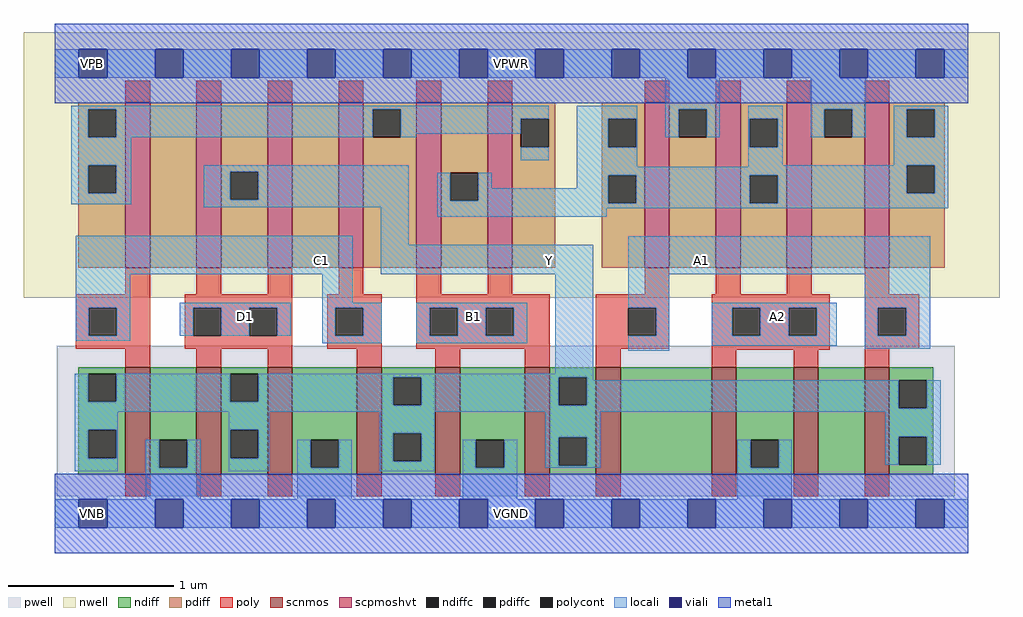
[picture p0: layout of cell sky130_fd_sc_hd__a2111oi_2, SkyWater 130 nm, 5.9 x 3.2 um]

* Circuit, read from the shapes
.subckt sky130_fd_sc_hd__a2111oi_2 A1 A2 B1 C1 D1 VGND VNB VPB VPWR Y
XM1 VGND C1 Y VNB sky130_fd_pr__nfet_01v8 w=0.65 l=0.15 m=2
XM2 Y D1 VGND VNB sky130_fd_pr__nfet_01v8 w=0.65 l=0.15 m=2
XM3 VGND B1 Y VNB sky130_fd_pr__nfet_01v8 w=0.65 l=0.15 m=2
XM4 n1 A1 Y VNB sky130_fd_pr__nfet_01v8 w=0.65 l=0.15
XM5 VGND A2 n1 VNB sky130_fd_pr__nfet_01v8 w=0.65 l=0.15
XM6 n2 A2 VGND VNB sky130_fd_pr__nfet_01v8 w=0.65 l=0.15
XM7 Y A1 n2 VNB sky130_fd_pr__nfet_01v8 w=0.65 l=0.15
XM8 n3 C1 n4 VPB sky130_fd_pr__pfet_01v8_hvt w=1 l=0.15
XM9 Y D1 n3 VPB sky130_fd_pr__pfet_01v8_hvt w=1 l=0.15
XM10 n5 D1 Y VPB sky130_fd_pr__pfet_01v8_hvt w=1 l=0.15
XM11 n4 C1 n5 VPB sky130_fd_pr__pfet_01v8_hvt w=1 l=0.15
XM12 n6 B1 n4 VPB sky130_fd_pr__pfet_01v8_hvt w=1 l=0.15 m=2
XM13 VPWR A1 n6 VPB sky130_fd_pr__pfet_01v8_hvt w=1 l=0.15 m=2
XM14 n6 A2 VPWR VPB sky130_fd_pr__pfet_01v8_hvt w=1 l=0.15 m=2
.ends

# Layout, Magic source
magic
tech sky130A
magscale 1 2
<< nwell >>
rect -38 261 1142 582
<< pwell >>
rect 2 21 1088 203
rect 29 -17 63 21
<< scnmos >>
rect 85 47 115 177
rect 171 47 201 177
rect 257 47 287 177
rect 365 47 395 177
rect 460 47 490 177
rect 568 47 598 177
rect 654 47 684 177
rect 794 47 824 177
rect 893 47 923 177
rect 979 47 1009 177
<< scpmoshvt >>
rect 85 297 115 497
rect 171 297 201 497
rect 257 297 287 497
rect 343 297 373 497
rect 437 297 467 497
rect 523 297 553 497
rect 713 297 743 497
rect 799 297 829 497
rect 885 297 915 497
rect 979 297 1009 497
<< ndiff >>
rect 28 169 85 177
rect 28 135 40 169
rect 74 135 85 169
rect 28 101 85 135
rect 28 67 40 101
rect 74 67 85 101
rect 28 47 85 67
rect 115 89 171 177
rect 115 55 126 89
rect 160 55 171 89
rect 115 47 171 55
rect 201 169 257 177
rect 201 135 212 169
rect 246 135 257 169
rect 201 101 257 135
rect 201 67 212 101
rect 246 67 257 101
rect 201 47 257 67
rect 287 89 365 177
rect 287 55 309 89
rect 343 55 365 89
rect 287 47 365 55
rect 395 165 460 177
rect 395 131 409 165
rect 443 131 460 165
rect 395 97 460 131
rect 395 63 409 97
rect 443 63 460 97
rect 395 47 460 63
rect 490 89 568 177
rect 490 55 509 89
rect 543 55 568 89
rect 490 47 568 55
rect 598 165 654 177
rect 598 131 609 165
rect 643 131 654 165
rect 598 92 654 131
rect 598 58 609 92
rect 643 58 654 92
rect 598 47 654 58
rect 684 47 794 177
rect 824 89 893 177
rect 824 55 841 89
rect 875 55 893 89
rect 824 47 893 55
rect 923 47 979 177
rect 1009 161 1062 177
rect 1009 127 1020 161
rect 1054 127 1062 161
rect 1009 93 1062 127
rect 1009 59 1020 93
rect 1054 59 1062 93
rect 1009 47 1062 59
<< pdiff >>
rect 28 489 85 497
rect 28 455 40 489
rect 74 455 85 489
rect 28 421 85 455
rect 28 387 40 421
rect 74 387 85 421
rect 28 297 85 387
rect 115 297 171 497
rect 201 413 257 497
rect 201 379 212 413
rect 246 379 257 413
rect 201 297 257 379
rect 287 297 343 497
rect 373 489 437 497
rect 373 455 384 489
rect 418 455 437 489
rect 373 297 437 455
rect 467 412 523 497
rect 467 378 478 412
rect 512 378 523 412
rect 467 297 523 378
rect 553 477 605 497
rect 553 443 563 477
rect 597 443 605 477
rect 553 297 605 443
rect 661 477 713 497
rect 661 443 669 477
rect 703 443 713 477
rect 661 409 713 443
rect 661 375 669 409
rect 703 375 713 409
rect 661 297 713 375
rect 743 489 799 497
rect 743 455 754 489
rect 788 455 799 489
rect 743 297 799 455
rect 829 477 885 497
rect 829 443 840 477
rect 874 443 885 477
rect 829 409 885 443
rect 829 375 840 409
rect 874 375 885 409
rect 829 297 885 375
rect 915 489 979 497
rect 915 455 930 489
rect 964 455 979 489
rect 915 297 979 455
rect 1009 489 1076 497
rect 1009 455 1030 489
rect 1064 455 1076 489
rect 1009 421 1076 455
rect 1009 387 1030 421
rect 1064 387 1076 421
rect 1009 297 1076 387
<< ndiffc >>
rect 40 135 74 169
rect 40 67 74 101
rect 126 55 160 89
rect 212 135 246 169
rect 212 67 246 101
rect 309 55 343 89
rect 409 131 443 165
rect 409 63 443 97
rect 509 55 543 89
rect 609 131 643 165
rect 609 58 643 92
rect 841 55 875 89
rect 1020 127 1054 161
rect 1020 59 1054 93
<< pdiffc >>
rect 40 455 74 489
rect 40 387 74 421
rect 212 379 246 413
rect 384 455 418 489
rect 478 378 512 412
rect 563 443 597 477
rect 669 443 703 477
rect 669 375 703 409
rect 754 455 788 489
rect 840 443 874 477
rect 840 375 874 409
rect 930 455 964 489
rect 1030 455 1064 489
rect 1030 387 1064 421
<< poly >>
rect 85 497 115 523
rect 171 497 201 523
rect 257 497 287 523
rect 343 497 373 523
rect 437 497 467 523
rect 523 497 553 523
rect 713 497 743 523
rect 799 497 829 523
rect 885 497 915 523
rect 979 497 1009 523
rect 85 265 115 297
rect 171 265 201 297
rect 257 265 287 297
rect 343 265 373 297
rect 437 265 467 297
rect 523 265 553 297
rect 713 265 743 297
rect 799 265 829 297
rect 885 265 915 297
rect 979 265 1009 297
rect 25 249 115 265
rect 25 215 41 249
rect 75 215 115 249
rect 25 199 115 215
rect 157 249 287 265
rect 157 215 167 249
rect 201 215 235 249
rect 269 215 287 249
rect 157 199 287 215
rect 329 249 395 265
rect 329 215 339 249
rect 373 215 395 249
rect 329 199 395 215
rect 437 249 598 265
rect 437 215 453 249
rect 487 215 521 249
rect 555 215 598 249
rect 437 199 598 215
rect 85 177 115 199
rect 171 177 201 199
rect 257 177 287 199
rect 365 177 395 199
rect 460 177 490 199
rect 568 177 598 199
rect 654 249 743 265
rect 654 215 693 249
rect 727 215 743 249
rect 654 199 743 215
rect 794 249 937 265
rect 794 215 819 249
rect 853 215 887 249
rect 921 215 937 249
rect 654 177 684 199
rect 794 198 937 215
rect 979 249 1045 265
rect 979 215 995 249
rect 1029 215 1045 249
rect 979 199 1045 215
rect 794 177 824 198
rect 893 177 923 198
rect 979 177 1009 199
rect 85 21 115 47
rect 171 21 201 47
rect 257 21 287 47
rect 365 21 395 47
rect 460 21 490 47
rect 568 21 598 47
rect 654 21 684 47
rect 794 21 824 47
rect 893 21 923 47
rect 979 21 1009 47
<< polycont >>
rect 41 215 75 249
rect 167 215 201 249
rect 235 215 269 249
rect 339 215 373 249
rect 453 215 487 249
rect 521 215 555 249
rect 693 215 727 249
rect 819 215 853 249
rect 887 215 921 249
rect 995 215 1029 249
<< locali >>
rect 0 527 29 561
rect 63 527 121 561
rect 155 527 213 561
rect 247 527 305 561
rect 339 527 397 561
rect 431 527 489 561
rect 523 527 581 561
rect 615 527 673 561
rect 707 527 765 561
rect 799 527 857 561
rect 891 527 949 561
rect 983 527 1041 561
rect 1075 527 1104 561
rect 20 489 597 493
rect 20 455 40 489
rect 74 455 384 489
rect 418 477 597 489
rect 418 459 563 477
rect 418 455 437 459
rect 20 421 92 455
rect 563 427 597 443
rect 631 477 704 493
rect 631 443 669 477
rect 703 443 704 477
rect 738 489 804 527
rect 738 455 754 489
rect 788 455 804 489
rect 838 477 880 493
rect 20 387 40 421
rect 74 387 92 421
rect 20 374 92 387
rect 180 413 428 421
rect 180 379 212 413
rect 246 379 428 413
rect 631 419 704 443
rect 838 443 840 477
rect 874 443 880 477
rect 914 489 980 527
rect 914 455 930 489
rect 964 455 980 489
rect 1014 489 1080 493
rect 1014 455 1030 489
rect 1064 455 1080 489
rect 838 421 880 443
rect 1014 421 1080 455
rect 838 419 1030 421
rect 180 370 428 379
rect 25 289 360 336
rect 394 325 428 370
rect 462 378 478 412
rect 512 393 528 412
rect 631 409 1030 419
rect 631 393 669 409
rect 512 378 669 393
rect 462 375 669 378
rect 703 375 840 409
rect 874 387 1030 409
rect 1064 387 1080 421
rect 874 375 1080 387
rect 462 369 1080 375
rect 462 359 667 369
rect 394 289 651 325
rect 25 249 91 289
rect 323 255 360 289
rect 25 215 41 249
rect 75 215 91 249
rect 151 249 285 255
rect 151 215 167 249
rect 201 215 235 249
rect 269 215 285 249
rect 323 249 395 255
rect 323 215 339 249
rect 373 215 395 249
rect 25 209 91 215
rect 323 206 395 215
rect 437 249 571 255
rect 437 215 453 249
rect 487 215 521 249
rect 555 215 571 249
rect 437 206 571 215
rect 605 169 651 289
rect 693 289 1058 335
rect 693 249 743 289
rect 727 215 743 249
rect 693 197 743 215
rect 794 249 945 255
rect 794 215 819 249
rect 853 215 887 249
rect 921 215 945 249
rect 794 203 945 215
rect 979 249 1058 289
rect 979 215 995 249
rect 1029 215 1058 249
rect 979 199 1058 215
rect 24 135 40 169
rect 74 135 212 169
rect 246 165 651 169
rect 246 135 409 165
rect 24 131 409 135
rect 443 131 609 165
rect 643 161 651 165
rect 643 131 1020 161
rect 24 127 1020 131
rect 1054 127 1071 161
rect 24 123 1071 127
rect 24 101 76 123
rect 24 67 40 101
rect 74 67 76 101
rect 210 101 259 123
rect 24 51 76 67
rect 110 55 126 89
rect 160 55 176 89
rect 110 17 176 55
rect 210 67 212 101
rect 246 67 259 101
rect 393 97 459 123
rect 210 51 259 67
rect 293 55 309 89
rect 343 55 359 89
rect 293 17 359 55
rect 393 63 409 97
rect 443 63 459 97
rect 593 92 659 123
rect 393 51 459 63
rect 493 55 509 89
rect 543 55 559 89
rect 593 58 609 92
rect 643 58 659 92
rect 1004 93 1071 123
rect 593 55 659 58
rect 825 55 841 89
rect 875 55 891 89
rect 1004 59 1020 93
rect 1054 59 1071 93
rect 493 17 559 55
rect 825 17 891 55
rect 0 -17 29 17
rect 63 -17 121 17
rect 155 -17 213 17
rect 247 -17 305 17
rect 339 -17 397 17
rect 431 -17 489 17
rect 523 -17 581 17
rect 615 -17 673 17
rect 707 -17 765 17
rect 799 -17 857 17
rect 891 -17 949 17
rect 983 -17 1041 17
rect 1075 -17 1104 17
<< viali >>
rect 29 527 63 561
rect 121 527 155 561
rect 213 527 247 561
rect 305 527 339 561
rect 397 527 431 561
rect 489 527 523 561
rect 581 527 615 561
rect 673 527 707 561
rect 765 527 799 561
rect 857 527 891 561
rect 949 527 983 561
rect 1041 527 1075 561
rect 29 -17 63 17
rect 121 -17 155 17
rect 213 -17 247 17
rect 305 -17 339 17
rect 397 -17 431 17
rect 489 -17 523 17
rect 581 -17 615 17
rect 673 -17 707 17
rect 765 -17 799 17
rect 857 -17 891 17
rect 949 -17 983 17
rect 1041 -17 1075 17
<< metal1 >>
rect 0 561 1104 592
rect 0 527 29 561
rect 63 527 121 561
rect 155 527 213 561
rect 247 527 305 561
rect 339 527 397 561
rect 431 527 489 561
rect 523 527 581 561
rect 615 527 673 561
rect 707 527 765 561
rect 799 527 857 561
rect 891 527 949 561
rect 983 527 1041 561
rect 1075 527 1104 561
rect 0 496 1104 527
rect 0 17 1104 48
rect 0 -17 29 17
rect 63 -17 121 17
rect 155 -17 213 17
rect 247 -17 305 17
rect 339 -17 397 17
rect 431 -17 489 17
rect 523 -17 581 17
rect 615 -17 673 17
rect 707 -17 765 17
rect 799 -17 857 17
rect 891 -17 949 17
rect 983 -17 1041 17
rect 1075 -17 1104 17
rect 0 -48 1104 -17
<< labels >>
flabel locali s 213 221 247 255 0 FreeSans 400 0 0 0 D1
port 5 nsew signal input
flabel locali s 305 289 339 323 0 FreeSans 400 0 0 0 C1
port 4 nsew signal input
flabel locali s 857 221 891 255 0 FreeSans 400 0 0 0 A2
port 2 nsew signal input
flabel locali s 765 289 799 323 0 FreeSans 400 0 0 0 A1
port 1 nsew signal input
flabel locali s 581 289 615 323 0 FreeSans 400 0 0 0 Y
port 10 nsew signal output
flabel locali s 489 221 523 255 0 FreeSans 400 0 0 0 B1
port 3 nsew signal input
flabel pwell s 29 -17 63 17 0 FreeSans 200 0 0 0 VNB
port 7 nsew ground bidirectional
flabel nwell s 29 527 63 561 0 FreeSans 200 0 0 0 VPB
port 8 nsew power bidirectional
flabel metal1 s 29 -17 63 17 0 FreeSans 200 0 0 0 VGND
port 6 nsew ground bidirectional abutment
flabel metal1 s 29 527 63 561 0 FreeSans 200 0 0 0 VPWR
port 9 nsew power bidirectional abutment
rlabel comment s 0 0 0 0 4 a2111oi_2
rlabel metal1 s 0 -48 1104 48 1 VGND
port 6 nsew ground bidirectional abutment
rlabel metal1 s 0 496 1104 592 1 VPWR
port 9 nsew power bidirectional abutment
<< properties >>
string FIXED_BBOX 0 0 1104 544
string GDS_END 3787246
string GDS_FILE $PDKPATH/libs.ref/sky130_fd_sc_hd/gds/sky130_fd_sc_hd.gds
string GDS_START 3779018
string LEFclass CORE
string LEFsite unithd
string LEFsymmetry X Y R90
string path 0.000 0.000 27.600 0.000 
<< end >>
